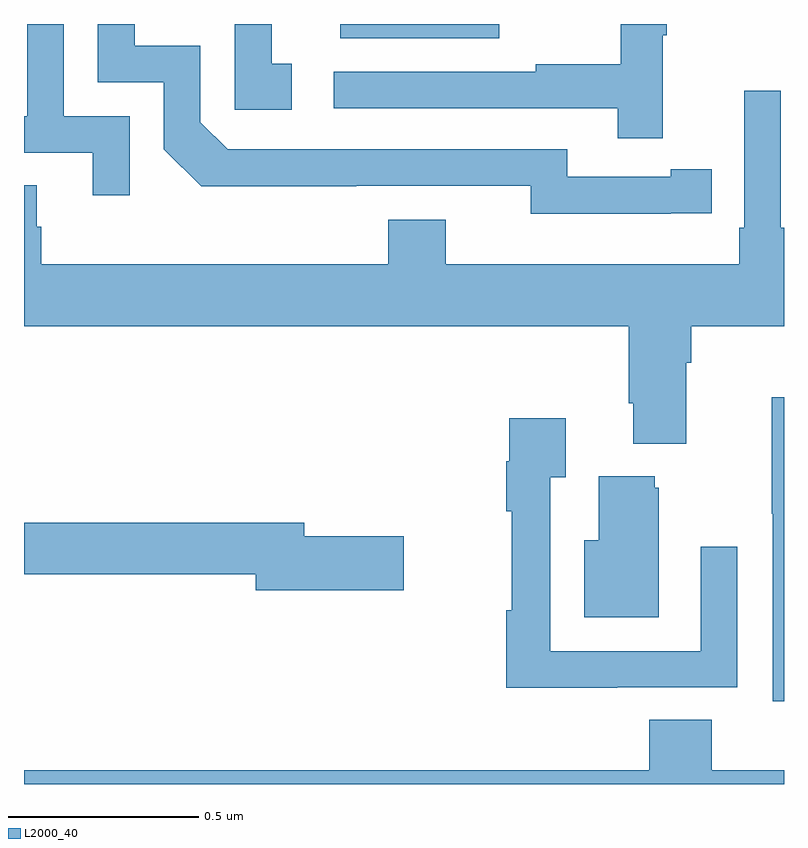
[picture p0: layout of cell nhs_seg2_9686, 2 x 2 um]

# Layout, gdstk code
import gdstk
lib = gdstk.Library(unit=1e-6, precision=1e-09)
def R(c, l, rs):  # rectangles x0, y0, x1, y1
    for r in rs: c.add(gdstk.rectangle(r[:2], r[2:], *l))
def P(c, l, *ps):  # polygons
    for p in ps: c.add(gdstk.Polygon(p, *l))
L2000_40 = (2000, 40)

nhs_seg2_9686 = lib.new_cell('nhs_seg2_9686')
R(nhs_seg2_9686, L2000_40, [(232.832,613.763,233.251,613.8)])
P(nhs_seg2_9686, L2000_40, [(233.702,613.302),(233.81,613.302),(233.81,613.418),(233.702,613.418),(233.702,613.398),(233.43,613.398),(233.43,613.47),(232.536,613.47),(232.464,613.542),(232.464,613.743),(232.291,613.743),(232.291,613.8),(232.194,613.8),(232.194,613.647),(232.368,613.647),(232.368,613.47),(232.466,613.373),(232.874,613.373),(232.874,613.374),(233.334,613.374),(233.334,613.301),(233.702,613.301)],
  [(232.278,613.557),(232.104,613.557),(232.104,613.8),(232.008,613.8),(232.008,613.557),(232,613.557),(232,613.461),(232.181,613.461),(232.181,613.35),(232.278,613.35)],
  [(233.681,613.771),(233.692,613.771),(233.692,613.8),(233.571,613.8),(233.571,613.694),(233.347,613.694),(233.347,613.674),(232.815,613.674),(232.815,613.578),(233.563,613.578),(233.563,613.5),(233.681,613.5)],
  [(232.705,613.695),(232.652,613.695),(232.652,613.8),(232.554,613.8),(232.554,613.575),(232.705,613.575)],
  [(233.743,612.908),(233.756,612.908),(233.756,613.004),(234,613.004),(234,613.264),(233.992,613.264),(233.992,613.624),(233.895,613.624),(233.895,613.264),(233.882,613.264),(233.882,613.168),(233.11,613.168),(233.11,613.285),(232.958,613.285),(232.958,613.168),(232.046,613.168),(232.046,613.266),(232.033,613.266),(232.033,613.376),(232,613.376),(232,613.004),(233.591,613.004),(233.591,612.802),(233.603,612.802),(233.603,612.695),(233.743,612.695)],
  [(234,612.818),(233.968,612.818),(233.968,612.511),(233.97,612.511),(233.97,612.018),(234,612.018)],
  [(233.561,612.054),(233.877,612.054),(233.877,612.424),(233.781,612.424),(233.781,612.15),(233.385,612.15),(233.385,612.607),(233.425,612.607),(233.425,612.763),(233.277,612.763),(233.277,612.65),(233.269,612.65),(233.269,612.518),(233.284,612.518),(233.284,612.257),(233.269,612.257),(233.269,612.053),(233.561,612.053)],
  [(233.671,612.579),(233.66,612.579),(233.66,612.61),(233.513,612.61),(233.513,612.442),(233.474,612.442),(233.474,612.239),(233.671,612.239)],
  [(232.999,612.452),(232.738,612.452),(232.738,612.488),(232,612.488),(232,612.352),(232.61,612.352),(232.61,612.31),(232.999,612.31)],
  [(234,611.836),(233.81,611.836),(233.81,611.969),(233.645,611.969),(233.645,611.836),(232,611.836),(232,611.8),(234,611.8)])

lib.write_gds('nhs_seg2_9686.gds')
